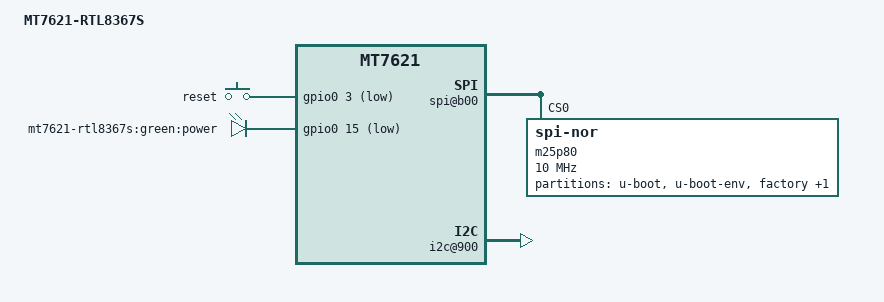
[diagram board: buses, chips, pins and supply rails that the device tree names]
/dts-v1/;

/include/ "mt7621.dtsi"

/ {
	compatible = "mt7621-rtl8367s", "mediatek,mt7621-soc";
	model = "MT7621-RTL8367S";

	chosen {
		bootargs = "console=ttyS0,57600";
	};

	palmbus@1E000000 {
		spi@b00 {
			status = "okay";

			m25p80@0 {
				#address-cells = <1>;
				#size-cells = <1>;
				compatible = "jedec,spi-nor";
				reg = <0 0>;
				spi-max-frequency = <10000000>;

				partition@0 {
					label = "u-boot";
					reg = <0x0 0x30000>;
				};

				partition@30000 {
					label = "u-boot-env";
					reg = <0x30000 0x10000>;
				};

				factory: partition@40000 {
					label = "factory";
					reg = <0x40000 0x10000>;
				};

				partition@50000 {
					label = "firmware";
					reg = <0x50000 0x1fb0000>;
				};

			};
		};

		i2c@900 {
			compatible = "ralink,i2c-mt7621";
			reg = <0x900 0x100>;
			#address-cells = <1>;
			#size-cells = <0>;
			pinctrl-names = "default";
			pinctrl-0 = <&i2c_pins>;
			status = "okay";
		};
	};

	rtl8367b {
		compatible = "realtek,rtl8367s";
		realtek,extif2 = <1 1 9 1 1 1 1 1 2>;
		mii-bus = <&mdio_pins>;
	};

	ethernet@1e100000 {
		mtd-mac-address = <&factory 0xe000>;
		pinctrl-0 = <&rgmii1_pins &mdio_pins>;
		pll-data = <0x03000101 0x00000101 0x00001919>;

		port@5 {
			status = "okay";
			mediatek,fixed-link = <1000 1 1 1>;
			phy-mode = "rgmii";
		};
	};

	gpio-keys-polled {
		compatible = "gpio-keys-polled";
		#address-cells = <1>;
		#size-cells = <0>;
		poll-interval = <20>;

		reset {
			label = "reset";
			gpios = <&gpio0 3 1>;
			linux,code = <0x198>;
		};
	};

	gpio-leds {
		compatible = "gpio-leds";

		led_power: power {
			label = "mt7621-rtl8367s:green:power";
			gpios = <&gpio0 15 1>;
		};
	};

	pinctrl {
		state_default: pinctrl0 {
			gpio {
				ralink,group = "i2c", "jtag", "uart2", "uart3", "rgmii2";
				ralink,function = "gpio";
			};
		};
	};

};
